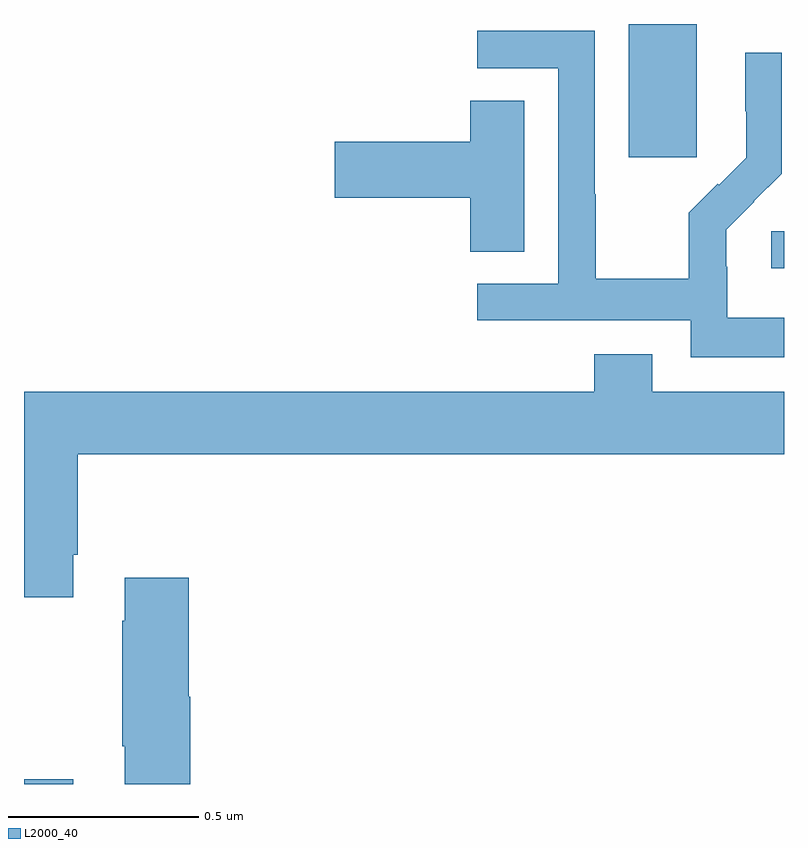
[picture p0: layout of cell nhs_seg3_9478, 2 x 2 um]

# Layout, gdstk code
import gdstk
lib = gdstk.Library(unit=1e-6, precision=1e-09)
def R(c, l, rs):  # rectangles x0, y0, x1, y1
    for r in rs: c.add(gdstk.rectangle(r[:2], r[2:], *l))
def P(c, l, *ps):  # polygons
    for p in ps: c.add(gdstk.Polygon(p, *l))
L2000_40 = (2000, 40)

nhs_seg3_9478 = lib.new_cell('nhs_seg3_9478')
R(nhs_seg3_9478, L2000_40, [(229,681.4,229.129,681.412), (230.967,682.757,231,682.854), (230.591,683.049,230.77,683.4)])
P(nhs_seg3_9478, L2000_40, [(231,682.627),(230.85,682.627),(230.85,682.761),(230.848,682.761),(230.848,682.858),(230.922,682.932),(230.921,682.933),(230.994,683.006),(230.994,683.324),(230.898,683.324),(230.898,683.17),(230.9,683.17),(230.9,683.048),(230.829,682.977),(230.826,682.98),(230.749,682.903),(230.749,682.729),(230.505,682.729),(230.505,682.952),(230.502,682.952),(230.502,683.382),(230.193,683.382),(230.193,683.283),(230.406,683.283),(230.406,682.716),(230.193,682.716),(230.193,682.62),(230.754,682.62),(230.754,682.523),(231,682.523)],
  [(230.317,683.198),(230.174,683.198),(230.174,683.09),(229.818,683.09),(229.818,682.943),(230.174,682.943),(230.174,682.801),(230.317,682.801)],
  [(229.129,682.003),(229.142,682.003),(229.142,682.268),(231,682.268),(231,682.432),(230.653,682.432),(230.653,682.531),(230.501,682.531),(230.501,682.432),(229,682.432),(229,681.891),(229.129,681.891)],
  [(229.438,681.63),(229.433,681.63),(229.433,681.943),(229.265,681.943),(229.265,681.83),(229.258,681.83),(229.258,681.499),(229.265,681.499),(229.265,681.4),(229.438,681.4)])

lib.write_gds('nhs_seg3_9478.gds')
